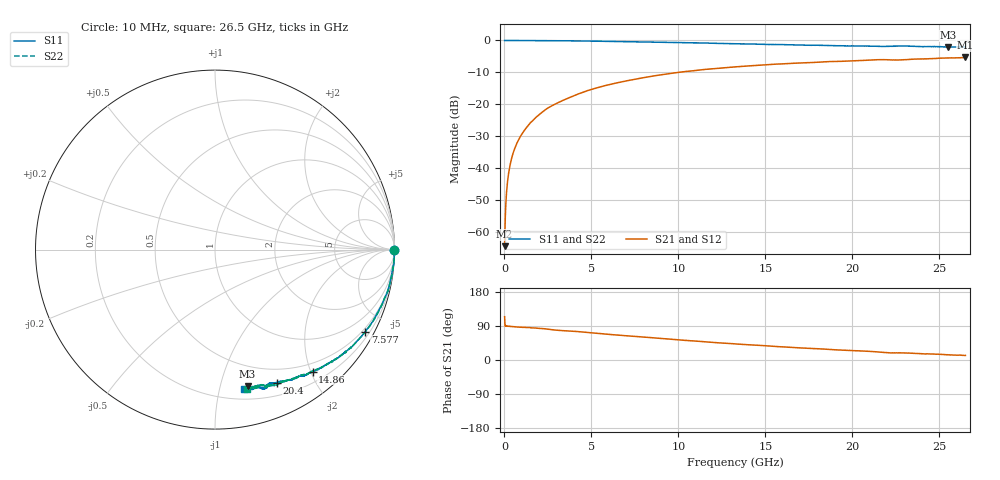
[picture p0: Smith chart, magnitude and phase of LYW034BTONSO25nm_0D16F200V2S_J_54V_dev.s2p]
!Keysight Technologies,N5222B,MY61253708,A.15.00.15
!Date: Wednesday, June 19, 2024 09:08:59
!Correction: S11(C  2-Port  )
!S21(C  2-Port  )
!S12(C  2-Port  )
!S22(C  2-Port  )
!S2P File: Measurements: S11, S21, S12, S22:
# Hz S  RI  R 50
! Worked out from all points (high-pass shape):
!   2651 points, 10 MHz to 26.5 GHz, reference 50 ohm
!   highest |S21| = -5.32 dB at 26.5 GHz (marker M1); lowest = -64.4 dB at 10 MHz (marker M2)
!   |S21| within 3 dB of the highest: 13.17 GHz to end of sweep
!   lowest |S11| = -2.1 dB at 25.5 GHz (marker M3), VSWR 8.23, Z = 15.4 - j60.9 ohm
!   |S11| at or under -10 dB: nowhere
!   |S22| runs from -2.0 to 0.0 dB; largest |S21 - S12| = 0.0073
!   S11 on the Smith chart (normalised r, x): 10 MHz: open; 7.577 GHz: 0.38, -3.89; 14.86 GHz: 0.36, -2.03; 20.4 GHz: 0.33, -1.52; 26.5 GHz: 0.28, -1.19
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1e7  0.9988 -0.00224  -0.000246 0.000547  -0.000215 0.000422  0.9986 -0.00101
6.997736e7  1 -0.00531  -4.41e-05 0.00235  3.85e-05 0.00244  0.9996 -0.00479
1.699396e8  0.9998 -0.0122  8.79e-05 0.00587  6.29e-05 0.0059  0.9996 -0.0114
2.199208e8  0.9997 -0.0157  0.00012 0.00758  0.000146 0.00765  0.9993 -0.0148
2.798981e8  0.9999 -0.0199  0.000175 0.00967  0.000192 0.00974  0.9997 -0.0189
3.898566e8  0.9993 -0.0276  0.000408 0.0134  0.000385 0.0135  0.9992 -0.0265
5.198075e8  0.9991 -0.0361  0.000602 0.0179  0.000619 0.018  0.9993 -0.0352
8.796717e8  0.9977 -0.0607  0.00177 0.03  0.00181 0.0302  0.997 -0.0595
1.489442e9  0.9896 -0.1035  0.00447 0.0511  0.00448 0.0514  0.9925 -0.0996
2.359113e9  0.9802 -0.1586  0.0113 0.0817  0.0115 0.0822  0.9817 -0.1581
3.208792e9  0.9675 -0.214  0.0229 0.1077  0.0232 0.1084  0.968 -0.2124
4.428332e9  0.938 -0.2884  0.0416 0.1463  0.0419 0.1472  0.9401 -0.2848
5.827804e9  0.8981 -0.3657  0.0727 0.1834  0.0738 0.1843  0.9008 -0.3643
7.577143e9  0.8383 -0.4563  0.1171 0.2198  0.1181 0.2209  0.8423 -0.4509
8.846664e9  0.7901 -0.5112  0.1536 0.2408  0.1551 0.2416  0.7928 -0.5085
1.3255e10  0.6088 -0.6473  0.2839 0.2608  0.2861 0.2607  0.6143 -0.6449
1.486439e10  0.5437 -0.6795  0.3265 0.2547  0.3276 0.2545  0.5513 -0.6736
1.767333e10  0.4335 -0.7209  0.3895 0.2282  0.393 0.2268  0.447 -0.7182
2.04023e10  0.3457 -0.7446  0.4427 0.1972  0.4446 0.1953  0.3629 -0.7454
2.209166e10  0.2994 -0.7482  0.4699 0.1631  0.4717 0.1607  0.2963 -0.7549
2.550038e10  0.1817 -0.762  0.5169 0.1244  0.5185 0.1252  0.2047 -0.7668
2.65e10  0.1637 -0.777  0.5301 0.1137  0.5293 0.1105  0.1787 -0.7769
